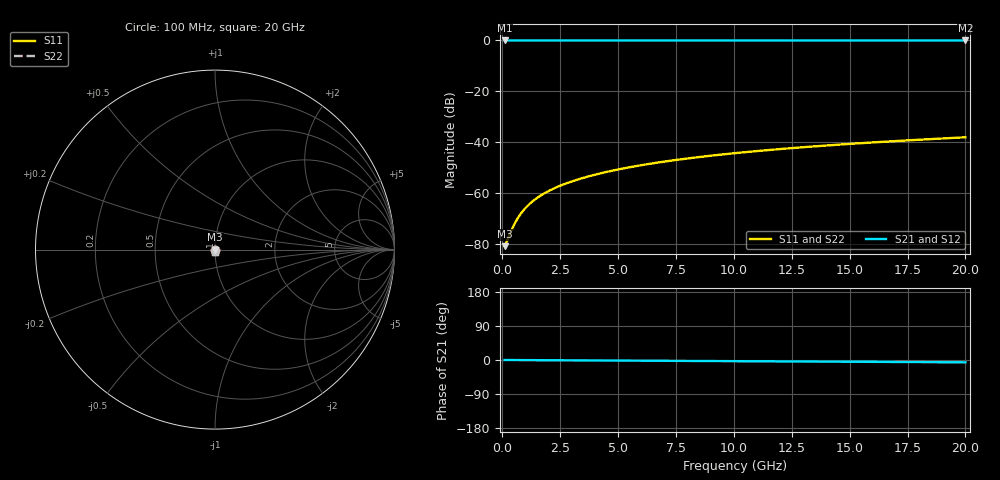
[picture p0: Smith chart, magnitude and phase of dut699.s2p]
! Touchstone file exported from HFSS 2026.1.0
!  File:  C:/ffzhzh/LocalFiles/Ansys_Project_Files/temp_train_TSV_699_1783027823_4048.aedt
!  Generated:  05:32:33 AM Jul  3, 2026
!  Design:  TSV
!  Project:  temp_train_TSV_699_1783027823_4048
! Variables:
!  h_bsmrdl = 2um
!  h_ox = 20um
!  h_rdl = 5um
!  h_sub = 59.26um
!  h_tmrdl = 5um
!  h_tsv = 59.26um
!  h_via = 3um
!  l_bsmrdl = 300um
!  l_sub = 423.2um
!  l_tmrdl = 200um
!  m_sub = 200um
!  pitch = 41.26um
!  r_tsv = 11.6um
!  s_tmrdl = 10um
!  w_bsmrdl = 18um
!  w_sub = 500um
!  w_tmrdl = 12um
!  x_tsv_center1 = 206um
!  x_tsv_center2 = 524um
!  x_tsv_center3 = 736um
!  x_tsv_center4 = 1054um
!  x_tsv_center5 = 1266um
!  x_tsv_center6 = 1584um
# GHz S MA R 50.000000
! Terminal data exported
! Port[1] = TSV1_1_T1
! Port[2] = TSV1_1_T2
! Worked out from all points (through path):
!   200 points, 100 MHz to 20 GHz, reference 50 ohm
!   highest |S21| = 0.00 dB at 100 MHz (marker M1); lowest = 0.0 dB at 20 GHz (marker M2)
!   lowest |S11| = -81.0 dB at 100 MHz (marker M3), VSWR 1.00, Z = 50 - j0.00279 ohm
!   |S11| at or under -10 dB: start of sweep to end of sweep
!   |S22| runs from -81.0 to -38.1 dB; largest |S21 - S12| = 1.1e-15
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0.1  8.918e-05 -18.2  0.9999 -0.0  0.9999 -0.0  8.918e-05 -18.2
! Gamma 0 0 0 0
! Port Impedance 50 0 50 0
0.2  0.0001114 -31.6  0.9999 -0.1  0.9999 -0.1  0.0001114 -31.6
0.4  0.0001844 -46.2  0.9999 -0.1  0.9999 -0.1  0.0001844 -46.2
0.5  0.0002305 -50.6  0.9999 -0.2  0.9999 -0.2  0.0002305 -50.6
0.6  0.0002807 -54.1  0.9998 -0.2  0.9998 -0.2  0.0002807 -54.1
0.7  0.0003338 -57.0  0.9998 -0.2  0.9998 -0.2  0.0003338 -57.0
0.8  0.0003888 -59.5  0.9998 -0.3  0.9998 -0.3  0.0003888 -59.5
1  0.0005022 -63.5  0.9998 -0.3  0.9998 -0.3  0.0005022 -63.5
1.3  0.0006763 -68.0  0.9997 -0.4  0.9997 -0.4  0.0006763 -68.0
1.7  0.0009104 -72.0  0.9997 -0.5  0.9997 -0.5  0.0009104 -72.0
2.2  0.001204 -75.3  0.9997 -0.7  0.9997 -0.7  0.001204 -75.3
2.8  0.001558 -77.7  0.9996 -0.9  0.9996 -0.9  0.001558 -77.7
3.5  0.001976 -79.7  0.9996 -1.1  0.9996 -1.1  0.001976 -79.7
4.2  0.002398 -81.0  0.9996 -1.3  0.9996 -1.3  0.002398 -81.0
5  0.002886 -82.2  0.9995 -1.5  0.9995 -1.5  0.002886 -82.2
5.9  0.003441 -83.3  0.9995 -1.8  0.9995 -1.8  0.003441 -83.3
6.8  0.004001 -84.2  0.9994 -2.1  0.9994 -2.1  0.004001 -84.2
8.3  0.004942 -85.5  0.9994 -2.6  0.9994 -2.6  0.004942 -85.5
10.1  0.006078 -86.8  0.9993 -3.1  0.9993 -3.1  0.006078 -86.8
13.4  0.008173 -88.7  0.9992 -4.1  0.9992 -4.1  0.008173 -88.7
16.7  0.01028 -90.3  0.9991 -5.1  0.9991 -5.1  0.01028 -90.3
20  0.0124 -91.7  0.999 -6.1  0.999 -6.1  0.0124 -91.7
